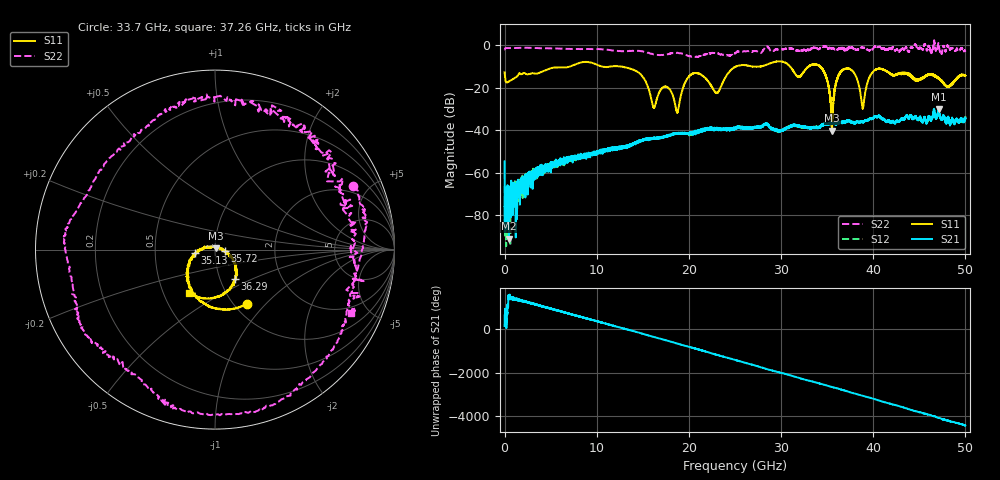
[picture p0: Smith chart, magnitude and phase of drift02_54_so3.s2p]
!Created with skrf (http://scikit-rf.org).
# Hz S RI R 50.0
!freq ReS11 ImS11 ReS21 ImS21 ReS12 ImS12 ReS22 ImS22
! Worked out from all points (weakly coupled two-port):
!   10001 points, 300 kHz to 50 GHz, reference 50 ohm
!   highest |S21| = -30.14 dB at 47.1 GHz (marker M1); lowest = -90.9 dB at 465.3 MHz (marker M2)
!   lowest |S11| = -40.2 dB at 35.54 GHz (marker M3), VSWR 1.02, Z = 50.6 + j0.816 ohm
!   |S11| at or under -10 dB: start of sweep to 7.179 GHz; 12.39 GHz to 25.18 GHz (12.79 GHz wide, 68.1 % of centre); 34.22 GHz to end of sweep (the widest 3 of 21)
!   |S22| runs from -5.7 to 2.1 dB; largest |S21 - S12| = 0.0029
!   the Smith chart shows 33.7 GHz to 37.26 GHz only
!   S11 on the Smith chart (normalised r, x): 33.7 GHz: 1.14, -0.79; 35.13 GHz: 0.79, -0.03; 35.72 GHz: 1.11, -0.02; 36.29 GHz: 1.17, -0.40; 37.26 GHz: 0.67, -0.35
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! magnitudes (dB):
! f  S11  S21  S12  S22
! 300 kHz  -12.9  -54.7  -66.2  -2.0
! 465.3 MHz  -17.1  -90.9  -68.7  -1.5
! 8.335 GHz  -8.2  -51.2  -53.3  -1.9
! 14.03 GHz  -11.8  -46.5  -46.4  -2.8
! 16.15 GHz  -29.2  -43.9  -43.8  -4.4
! 16.67 GHz  -23.4  -43.7  -43.9  -4.7
! 18.74 GHz  -31.7  -41.4  -41.3  -3.7
! 20.25 GHz  -13.9  -40.8  -41.5  -5.5
! 23.04 GHz  -22.5  -39.4  -39.5  -4.1
! 25 GHz  -10.3  -39.1  -39.0  -3.9
! 33.34 GHz  -9.3  -38.4  -38.7  -1.7
! 33.7 GHz  -9.1  -38.8  -38.7  -1.4
! 35.13 GHz  -18.7  -36.9  -36.8  -1.6
! 35.54 GHz  -40.2  -36.6  -36.7  -1.8
! 35.72 GHz  -25.4  -36.8  -36.9  -1.7
! 36.29 GHz  -14.1  -36.5  -36.5  -1.7
! 37.26 GHz  -11.0  -35.5  -35.6  -1.5
! 38.86 GHz  -29.8  -36.1  -36.1  -1.3
! 39.96 GHz  -12.7  -34.3  -34.6  -1.8
! 41.67 GHz  -12.9  -35.4  -35.7  -2.0
! 47.1 GHz  -15.7  -30.1  -30.6  0.8
! 50 GHz  -14.5  -34.7  -34.3  -2.7
